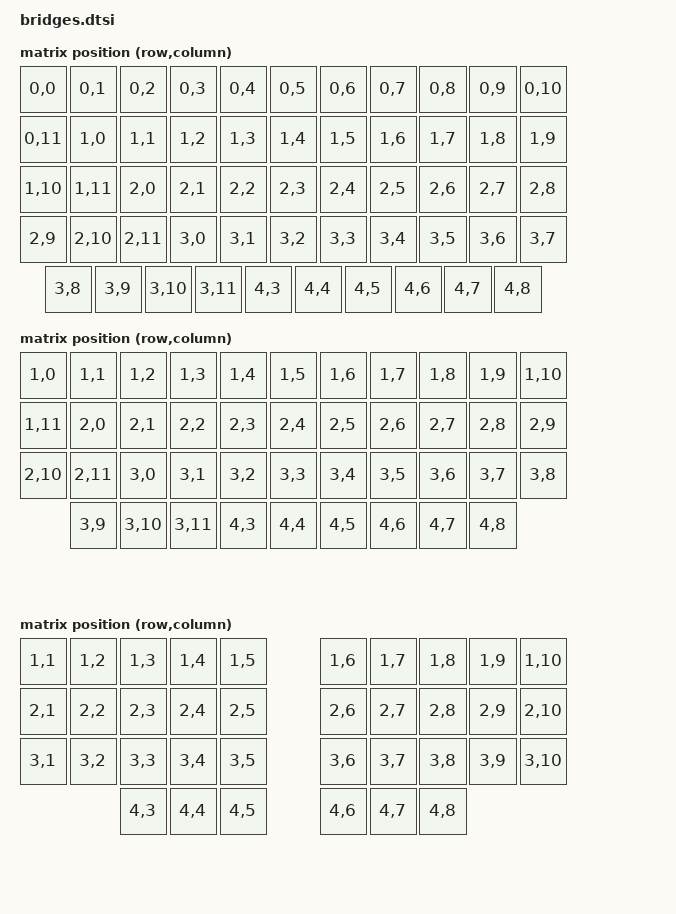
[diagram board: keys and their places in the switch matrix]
/*
 * Copyright (c) 2025 Vincent Franco
 * SPDX-License-Identifier: MIT
 */
#include <dt-bindings/zmk/matrix_transform.h>
#include <dt-bindings/zmk/input_transform.h>
#include <input/processors.dtsi>

#include "fifty_four_layout.dtsi"
#include "forty_two_layout.dtsi"
#include "thirty_six_layout.dtsi"

#define DEF 0
#define MOUSE 1
#define SYM 2
#define NUM 3
#define FN 4
#define GENSHIN 5 

&gggw_bridges_54_layout {
  transform = <&default_transform>;
};

&gggw_bridges_42_layout {
  transform = <&forty_two_transform>;
};

&gggw_bridges_36_layout {
  transform = <&thirty_six_transform>;
};

/ {
  chosen {
    zmk,kscan = &kscan0;
    zmk,physical-layout = &gggw_bridges_54_layout;
  };

  default_transform: keymap_transform0 {
    compatible = "zmk,matrix-transform";
    columns = <12>;
    rows = <5>;
    map = <RC(0,0) RC(0,1) RC(0,2) RC(0,3) RC(0,4) RC(0,5) RC(0,6) RC(0,7) RC(0,8) RC(0,9) RC(0,10)
           RC(0,11) RC(1,0) RC(1,1) RC(1,2) RC(1,3) RC(1,4) RC(1,5) RC(1,6) RC(1,7) RC(1,8) RC(1,9)
           RC(1,10) RC(1,11) RC(2,0) RC(2,1) RC(2,2) RC(2,3) RC(2,4) RC(2,5) RC(2,6) RC(2,7) RC(2,8)
           RC(2,9) RC(2,10) RC(2,11) RC(3,0) RC(3,1) RC(3,2) RC(3,3) RC(3,4) RC(3,5) RC(3,6) RC(3,7)
           RC(3,8) RC(3,9) RC(3,10) RC(3,11) RC(4,3) RC(4,4) RC(4,5) RC(4,6) RC(4,7) RC(4,8)>;
  };

  forty_two_transform: keymap_transform1 {
    compatible = "zmk,matrix-transform";
    columns = <12>;
    rows = <5>;
    map = <RC(1,0) RC(1,1) RC(1,2) RC(1,3) RC(1,4) RC(1,5) RC(1,6) RC(1,7) RC(1,8) RC(1,9) RC(1,10)
           RC(1,11) RC(2,0) RC(2,1) RC(2,2) RC(2,3) RC(2,4) RC(2,5) RC(2,6) RC(2,7) RC(2,8) RC(2,9)
           RC(2,10) RC(2,11) RC(3,0) RC(3,1) RC(3,2) RC(3,3) RC(3,4) RC(3,5) RC(3,6) RC(3,7) RC(3,8)
           RC(3,9) RC(3,10) RC(3,11) RC(4,3) RC(4,4) RC(4,5) RC(4,6) RC(4,7) RC(4,8)>;
  };

  thirty_six_transform: keymap_transform2 {
    compatible = "zmk,matrix-transform";
    columns = <12>;
    rows = <5>;
    map = <RC(1,1) RC(1,2) RC(1,3) RC(1,4) RC(1,5) RC(1,6) RC(1,7) RC(1,8) RC(1,9) RC(1,10)
           RC(2,1) RC(2,2) RC(2,3) RC(2,4) RC(2,5) RC(2,6) RC(2,7) RC(2,8) RC(2,9) RC(2,10)
           RC(3,1) RC(3,2) RC(3,3) RC(3,4) RC(3,5) RC(3,6) RC(3,7) RC(3,8) RC(3,9) RC(3,10)
           RC(4,3) RC(4,4) RC(4,5) RC(4,6) RC(4,7) RC(4,8)>;
  };

  kscan0: kscan0 {
    diode-direction = "col2row";
  };

  //left hand trackball
  split_inputs {
    #address-cells = <1>;
    #size-cells = <0>;

    trackball_left_split: trackball_split@0 {
      compatible = "zmk,input-split";
      reg = <0>;
    };

    trackball_right_split: trackball_split@1 {
      compatible = "zmk,input-split";
      reg = <1>;
    };
  };

  trackball_left_listener: trackball_left_listener {
    compatible = "zmk,input-listener";
    status = "disabled";
    device = <&trackball_left_split>;

    snipe {
      layers = <NUM>;
      input-processors = <&zip_xy_scaler 1 3>;
    };

    scroll {
      layers = <SYM>;
      input-processors = <&zip_xy_transform INPUT_TRANSFORM_Y_INVERT>, <&zip_xy_scaler 1 3>,
                         <&zip_xy_to_scroll_mapper>;
    };

    move {
      layers = <DEF MOUSE>;
      input-processors = <&auto_mouse_layer MOUSE 5000>;
    };
  };

  trackball_right_listener: trackball_right_listener {
    compatible = "zmk,input-listener";
    status = "disabled";
    device = <&trackball_right_split>;

    snipe {
      layers = <NUM>;
      input-processors = <&zip_xy_scaler 1 3>;
    };

    scroll {
      layers = <SYM>;
      input-processors = <&zip_xy_transform INPUT_TRANSFORM_Y_INVERT>, <&zip_xy_scaler 1 3>,
                         <&zip_xy_to_scroll_mapper>;
    };

    move {
      layers = <DEF MOUSE>;
      input-processors = <&auto_mouse_layer MOUSE 5000>;
    };
  };

  auto_mouse_layer: auto_mouse_layer {
    compatible = "zmk,input-processor-temp-layer";
    #input-processor-cells = <2>;
    require-prior-idle-ms = <500>;
    excluded-positions = <30 31 32 16 17 18 10 11 12 13 22 23>;
  };
};
